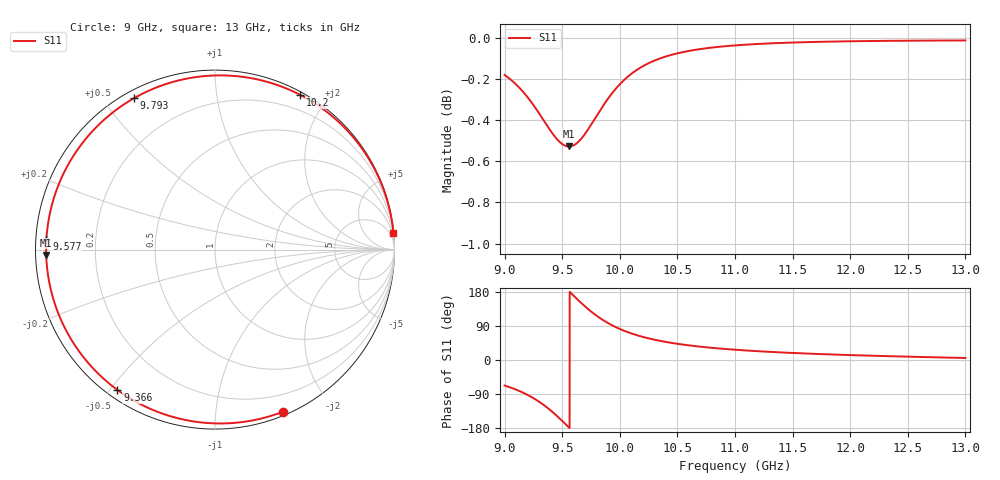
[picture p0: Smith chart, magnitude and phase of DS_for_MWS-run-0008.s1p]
! TOUCHSTONE file generated by CST DESIGN STUDIO
! Date and time: Wed Feb  5 13:33:27 2025
! Project name: C:\Work\MatlabApps\UnitCellOptimizationMatlab\CST\unitcell.cst
! Tree item: Tasks\Sweep1\SPara1\S-Parameters
! Header version: 2024
! Port assignment regex: !\s*Touchstone port\s*([0-9]+)\s*=\s*(CST MWS port|CST DES external port|CST DES block port)\s*(.+)\s* \(\"(.*)\"\)(\s*mode\s*([0-9]+))?.*
! Touchstone port assignment:
! Touchstone port 1 = CST DES external port 1 ("")
# GHz S MA R 50
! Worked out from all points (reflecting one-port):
!   4001 points, 9 GHz to 13 GHz, reference 50 ohm
!   lowest |S11| = -0.5 dB at 9.559 GHz (marker M1), VSWR 32.89, Z = 1.52 - j0.78 ohm
!   phase of S11 starts at -67 deg and turns -287 deg over the sweep
!   S11 on the Smith chart (normalised r, x): 9 GHz: 0.03, -1.50; 9.366 GHz: 0.03, -0.52; 9.577 GHz: 0.03, +0.03; 9.793 GHz: 0.03, +0.60; 10.2 GHz: 0.03, +1.70; 13 GHz: 0, +22
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9  0.9794 -67.3
9.04  0.9775 -71.4
9.106  0.9738 -79.0
9.219  0.9657 -95.3
9.297  0.9588 -109.6
9.366  0.9523 -124.8
9.431  0.9466 -141.2
9.5  0.9423 -160.6
9.559  0.941 -178.2
9.577  0.9411 176.4
9.632  0.943 160.0
9.692  0.9472 143.1
9.742  0.9517 130.1
9.793  0.9567 118.0
9.838  0.9611 108.5
9.886  0.9655 99.5
9.939  0.9699 90.7
10  0.9743 81.9
10.095  0.9798 70.7
10.199  0.9842 61.1
10.337  0.9882 51.3
10.5  0.9913 42.7
10.721  0.9939 34.4
11  0.9958 27.1
11.5  0.9974 18.6
12  0.9981 13.0
12.5  0.9984 8.8
13  0.9985 5.3
